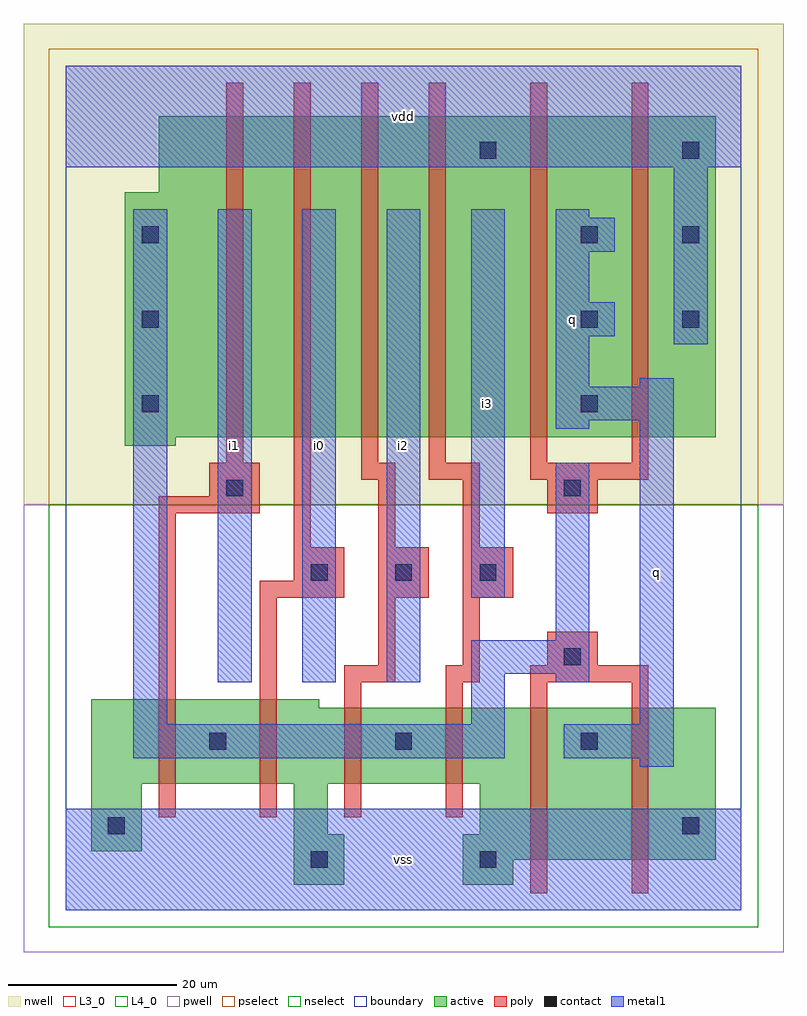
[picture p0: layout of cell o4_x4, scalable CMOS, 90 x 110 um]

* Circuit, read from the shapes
.subckt o4_x4 i0 i1 i2 i3 q vdd vss
M1 n1 i1 vss VSUBS nfet w=10u l=2u
M2 vss i0 n1 VSUBS nfet w=10u l=2u
M3 n1 i2 vss VSUBS nfet w=9u l=2u
M4 vss i3 n1 VSUBS nfet w=9u l=2u
M5 q n1 vss VSUBS nfet w=18u l=2u m=2
M6 n2 i1 n1 n3 pfet w=38u l=2u
M7 n4 i0 n2 n3 pfet w=38u l=2u
M8 n5 i2 n4 n3 pfet w=38u l=2u
M9 vdd i3 n5 n3 pfet w=38u l=2u
M10 q n1 vdd n3 pfet w=38u l=2u m=2
.ends

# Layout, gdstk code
import gdstk
lib = gdstk.Library(unit=1e-6, precision=1e-09)
def R(c, l, rs):  # rectangles x0, y0, x1, y1
    for r in rs: c.add(gdstk.rectangle(r[:2], r[2:], *l))
def A(c, l, x, y, w, h, nx, ny, dx, dy):  # array of equal rectangles
    R(c, l, [(x+i*dx, y+j*dy, x+i*dx+w, y+j*dy+h) for i in range(nx) for j in range(ny)])
L3_0 = (3, 0)
L4_0 = (4, 0)
contact = (25, 0)
pwell = (41, 0)
nwell = (42, 0)
active = (43, 0)
pselect = (44, 0)
nselect = (45, 0)
poly = (46, 0)
metal1 = (49, 0)
boundary = (63, 0)

o4_x4 = lib.new_cell('o4_x4')
R(o4_x4, L3_0, [(27,3,33,9), (47,3,53,6), (47,6,77,9), (3,7,9,15), (27,9,31,15), (49,9,77,15), (3,15,77,24), (3,24,30,25)])
R(o4_x4, L4_0, [(7,55,13,56), (7,56,77,85), (11,85,77,94)])
A(o4_x4, contact, 17, 19, 2, 2, 3, 1, 22, 0)
A(o4_x4, contact, 29, 39, 2, 2, 3, 1, 10, 0)
A(o4_x4, contact, 9, 59, 2, 2, 1, 3, 0, 10)
A(o4_x4, contact, 61, 59, 2, 2, 1, 3, 0, 10)
A(o4_x4, contact, 73, 69, 2, 2, 1, 3, 0, 10)
R(o4_x4, contact, [(29,5,31,7), (49,5,51,7), (5,9,7,11), (73,9,75,11), (59,29,61,31), (19,49,21,51), (59,49,61,51), (49,89,51,91)])
R(o4_x4, pwell, [(-5,-5,85,48)])
R(o4_x4, nwell, [(-5,48,85,105)])
R(o4_x4, active, [(27,3,33,9), (47,3,53,6), (47,6,77,9), (3,7,9,15), (27,9,31,15), (49,9,77,15), (3,15,77,24), (3,24,30,25), (7,55,13,56), (7,56,77,85), (11,85,77,94)])
R(o4_x4, pselect, [(-2,48,82,102)])
R(o4_x4, nselect, [(-2,-2,82,48)])
A(o4_x4, poly, 43, 53, 2, 45, 3, 1, 12, 0)
R(o4_x4, poly, [(55,2,57,27), (67,2,69,27), (11,11,13,47), (23,11,25,37), (33,11,35,27), (45,11,47,27), (33,27,39,29), (45,27,49,29), (55,27,69,29), (37,29,39,37), (47,29,49,37), (57,29,63,33), (23,37,33,39), (37,37,43,43), (47,37,53,43), (27,39,33,43), (27,43,29,98), (37,43,39,51), (47,43,49,51), (11,47,23,49), (57,47,63,51), (17,49,23,53), (35,51,39,53), (43,51,49,53), (55,51,69,53), (19,53,21,98), (35,53,37,98)])
A(o4_x4, metal1, 18, 27, 4, 56, 3, 1, 10, 0)
R(o4_x4, metal1, [(0,0,80,12), (68,17,72,18), (8,18,52,22), (59,18,72,22), (8,22,12,83), (48,22,52,28), (68,22,72,58), (58,27,62,28), (48,28,62,32), (58,32,62,53), (48,37,52,83), (58,57,62,58), (58,58,72,62), (58,62,62,68), (68,62,72,63), (72,67,76,88), (58,68,65,72), (58,72,62,78), (58,78,65,82), (58,82,62,83), (0,88,80,100)])
R(o4_x4, boundary, [(0,0,80,100)])
o4_x4.add(gdstk.Label('i1', (20,55), layer=49, texttype=0))
o4_x4.add(gdstk.Label('i0', (30,55), layer=49, texttype=0))
o4_x4.add(gdstk.Label('vss', (40,6), layer=49, texttype=0))
o4_x4.add(gdstk.Label('i2', (40,55), layer=49, texttype=0))
o4_x4.add(gdstk.Label('i3', (50,60), layer=49, texttype=0))
o4_x4.add(gdstk.Label('vdd', (40,94), layer=49, texttype=0))
o4_x4.add(gdstk.Label('q', (70,40), layer=49, texttype=0))
o4_x4.add(gdstk.Label('q', (60,70), layer=49, texttype=0))

lib.write_gds('o4_x4.gds')
